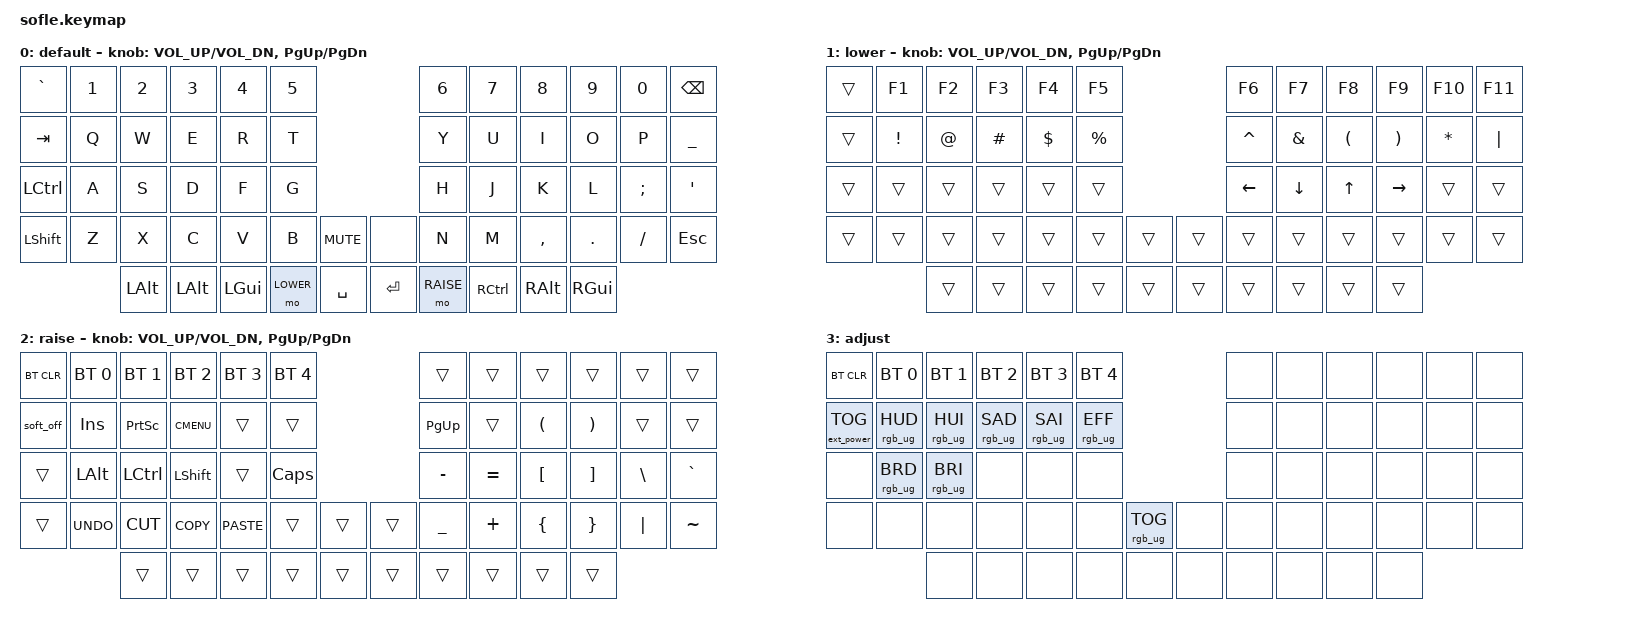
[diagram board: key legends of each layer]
/*
 * Copyright (c) 2020 The ZMK Contributors
 *
 * SPDX-License-Identifier: MIT
 */

#include <behaviors.dtsi>
#include <dt-bindings/zmk/keys.h>
#include <dt-bindings/zmk/bt.h>
#include <dt-bindings/zmk/rgb.h>
#include <dt-bindings/zmk/ext_power.h>

#define BASE 0
#define LOWER 1
#define RAISE 2
#define ADJUST 3

/ {

   // Activate ADJUST layer by pressing raise and lower
    conditional_layers {
        compatible = "zmk,conditional-layers";
        adjust_layer {
            if-layers = <LOWER RAISE>;
            then-layer = <ADJUST>;
        };
    };

    keymap {
        compatible = "zmk,keymap";

        default_layer {
            display-name = "default";
// ------------------------------------------------------------------------------------------------------------
// |   `   |  1  |  2  |  3   |  4   |  5   |                   |  6   |  7    |  8    |  9   |   0   | BKSPC |
// |  TAB  |  Q  |  W  |  E   |  R   |  T   |                   |  Y   |  U    |  I    |  O   |   P   | BKSPC |
// | LCTRL |  A  |  S  |  D   |  F   |  G   |                   |  H   |  J    |  K    |  L   |   ;   |   '   |
// | SHIFT |  Z  |  X  |  C   |  V   |  B   |  MUTE  |  |       |  N   |  M    |  ,    |  .   |   /   |  ESC  |
//               | ALT | ALT  | GUI  | LOWER|  SPACE |  | ENTER | RAISE| CTRL  | ALT   | GUI  |
            bindings = <
&kp GRAVE &kp N1 &kp N2   &kp N3   &kp N4    &kp N5                           &kp N6 &kp N7    &kp N8    &kp N9   &kp N0   &kp BSPC
&kp TAB   &kp Q  &kp W    &kp E    &kp R     &kp T                            &kp Y  &kp U     &kp I     &kp O    &kp P    &kp UNDER
&kp LCTRL  &kp A  &kp S    &kp D    &kp F     &kp G                            &kp H  &kp J     &kp K     &kp L    &kp SEMI &kp SQT
&kp LSHFT &kp Z  &kp X    &kp C    &kp V     &kp B      &kp C_MUTE &none      &kp N  &kp M     &kp COMMA &kp DOT  &kp FSLH &kp ESC
                 &kp LALT &kp LALT &kp LGUI &mo LOWER  &kp SPACE    &kp RET  &mo RAISE  &kp RCTRL &kp RALT  &kp RGUI
            >;

            sensor-bindings = <&inc_dec_kp C_VOL_UP C_VOL_DN &inc_dec_kp PG_UP PG_DN>;
        };

        lower_layer {
            display-name = "lower";
// TODO: Some binds are waiting for shifted keycode support.
// ------------------------------------------------------------------------------------------------------------
// |       |  F1 |  F2 |  F3  |  F4  |  F5  |                   |  F6  |  F7   |  F8   |  F9  |  F10  |  F11  |
// |   `   |  1  |  2  |  3   |  4   |  5   |                   |  6   |  7    |  8    |  9   |   0   |  F12  |
// |       |     |     |      |      |      |                   | LEFT |  DOWN |   UP  | RIGHT|       |       |
// |       |     |     |      |      |      |        |  |       |      |       |       |      |       |       |
//               |     |      |      |      |        |  |       |      |       |       |      |
            bindings = <
&trans    &kp F1    &kp F2    &kp F3      &kp F4    &kp F5                    &kp F6    &kp F7   &kp F8    &kp F9    &kp F10   &kp F11
&trans    &kp EXCL  &kp AT    &kp HASH    &kp DLLR  &kp PRCNT                 &kp CARET &kp AMPS &kp LPAR  &kp RPAR  &kp ASTRK &kp PIPE
&trans    &trans    &trans    &trans      &trans    &trans                    &kp LEFT  &kp DOWN &kp UP    &kp RIGHT &trans    &trans
&trans    &trans    &trans    &trans      &trans    &trans  &trans    &trans  &trans    &trans   &trans    &trans    &trans    &trans
                    &trans    &trans      &trans    &trans     &trans &trans  &trans    &trans   &trans    &trans
            >;

            sensor-bindings = <&inc_dec_kp C_VOL_UP C_VOL_DN &inc_dec_kp PG_UP PG_DN>;
        };

        raise_layer {
            display-name = "raise";
// ------------------------------------------------------------------------------------------------------------
// | BTCLR | BT1  | BT2  |  BT3  |  BT4  |  BT5 |                |      |      |       |      |       |       |
// |  OFF  | INS  | PSCR | GUI   |       |      |                | PGUP |      |   (   |  )   |       |       |
// |       | ALT  | CTRL | SHIFT |       | CAPS |                |  -   |  =   |   [   |  ]   |   \   |   `   |
// |       | UNDO | CUT  | COPY  | PASTE |      |      |  |      |  _   |  +   |   {   |  }   |   |   |   ~   |
//                |      |       |       |      |      |  |      |      |      |       |      |
            bindings = <
&bt BT_CLR &bt BT_SEL 0 &bt BT_SEL 1 &bt BT_SEL 2 &bt BT_SEL 3 &bt BT_SEL 4                  &trans    &trans    &trans   &trans    &trans  &trans
&soft_off     &kp INS      &kp PSCRN    &kp K_CMENU  &trans       &trans                        &kp PG_UP &trans    &kp LPAR   &kp RPAR    &trans  &trans
&trans     &kp LALT     &kp LCTRL    &kp LSHFT    &trans       &kp CLCK                      &kp MINUS &kp EQUAL  &kp LBKT &kp RBKT &kp BSLH &kp GRAVE
&trans     &kp K_UNDO   &kp K_CUT    &kp K_COPY   &kp K_PASTE  &trans   &trans    &trans     &kp UNDER &kp PLUS   &kp LBRC &kp RBRC &kp PIPE &kp TILDE
                        &trans       &trans       &trans       &trans        &trans  &trans  &trans    &trans    &trans   &trans
            >;

            sensor-bindings = <&inc_dec_kp C_VOL_UP C_VOL_DN &inc_dec_kp PG_UP PG_DN>;
        };

        adjust_layer {
// ----------------------------------------------------------------------------------------------------------------------------
// | BTCLR  |  BT1    |  BT2    |   BT3   |   BT4   |   BT5   |                  |      |      |       |      |       |       |
// | EXTPWR | RGB_HUD | RGB_HUI | RGB_SAD | RGB_SAI | RGB_EFF |                  |      |      |       |      |       |       |
// |        | RGB_BRD | RGB_BRI |         |         |         |                  |      |      |       |      |       |       |
// |        |         |         |         |         |         | RGB_TOG | |      |      |      |       |      |       |       |
//                    |         |         |         |         |         | |      |      |      |       |      |
            display-name = "adjust";
            bindings = <
&bt BT_CLR        &bt BT_SEL 0    &bt BT_SEL 1    &bt BT_SEL 2    &bt BT_SEL 3    &bt BT_SEL 4                            &none &none &none &none &none &none
&ext_power EP_TOG &rgb_ug RGB_HUD &rgb_ug RGB_HUI &rgb_ug RGB_SAD &rgb_ug RGB_SAI &rgb_ug RGB_EFF                         &none &none &none &none &none &none
&none             &rgb_ug RGB_BRD &rgb_ug RGB_BRI &none           &none           &none                                   &none &none &none &none &none &none
&none             &none           &none           &none           &none           &none            &rgb_ug RGB_TOG &none  &none &none &none &none &none &none
                                  &none           &none           &none           &none            &none           &none  &none &none &none &none
            >;
        };

    };
};
